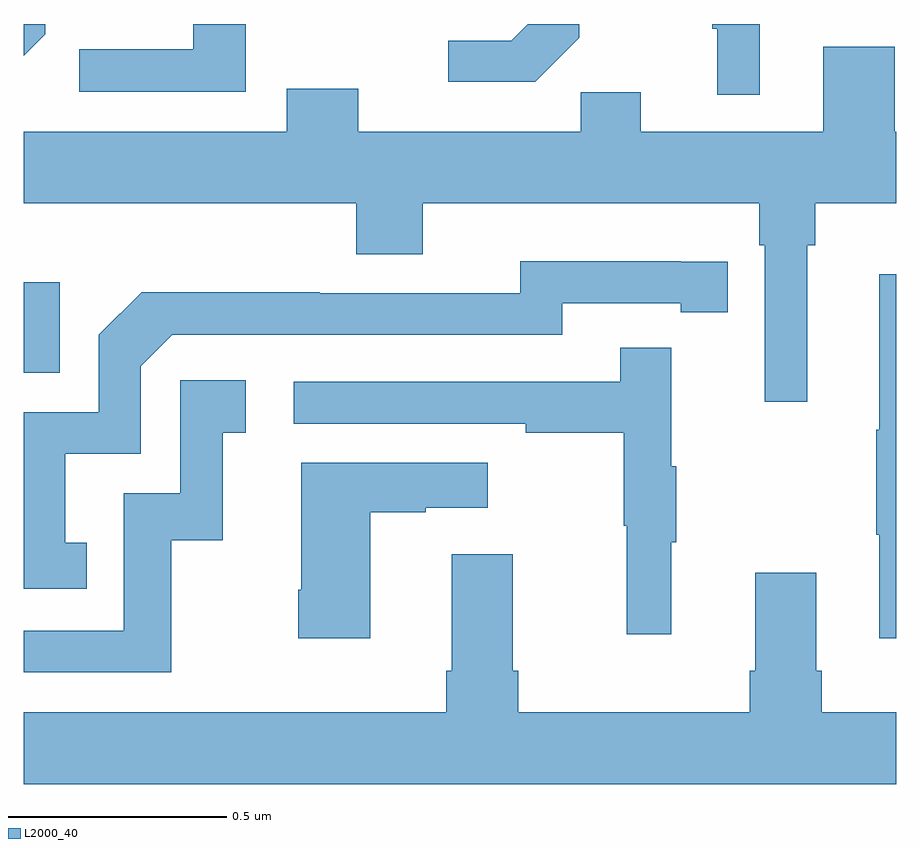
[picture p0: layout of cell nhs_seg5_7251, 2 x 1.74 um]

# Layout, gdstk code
import gdstk
lib = gdstk.Library(unit=1e-6, precision=1e-09)
def R(c, l, rs):  # rectangles x0, y0, x1, y1
    for r in rs: c.add(gdstk.rectangle(r[:2], r[2:], *l))
def P(c, l, *ps):  # polygons
    for p in ps: c.add(gdstk.Polygon(p, *l))
L2000_40 = (2000, 40)

nhs_seg5_7251 = lib.new_cell('nhs_seg5_7251')
R(nhs_seg5_7251, L2000_40, [(206,894.999,206.082,895.207)])
P(nhs_seg5_7251, L2000_40, [(206.509,895.799),(206.388,895.799),(206.388,895.741),(206.127,895.741),(206.127,895.644),(206.509,895.644)],
  [(207.688,895.799),(207.579,895.799),(207.579,895.788),(207.59,895.788),(207.59,895.637),(207.688,895.637)],
  [(207.273,895.767),(207.273,895.799),(207.155,895.799),(207.117,895.761),(206.973,895.761),(206.973,895.667),(207.173,895.667)],
  [(206.049,895.775),(206.049,895.799),(206,895.799),(206,895.726)],
  [(207.796,895.292),(207.815,895.292),(207.815,895.388),(208,895.388),(208,895.552),(207.997,895.552),(207.997,895.747),(207.833,895.747),(207.833,895.552),(207.415,895.552),(207.415,895.643),(207.277,895.643),(207.277,895.552),(206.767,895.552),(206.767,895.651),(206.603,895.651),(206.603,895.552),(206,895.552),(206,895.388),(206.762,895.388),(206.762,895.271),(206.914,895.271),(206.914,895.388),(207.686,895.388),(207.686,895.292),(207.699,895.292),(207.699,894.933),(207.796,894.933)],
  [(206.144,894.609),(206.095,894.609),(206.095,894.813),(206.268,894.813),(206.268,895.014),(206.34,895.086),(207.234,895.086),(207.234,895.158),(207.506,895.158),(207.506,895.138),(207.614,895.138),(207.614,895.254),(207.506,895.254),(207.506,895.255),(207.138,895.255),(207.138,895.182),(206.678,895.182),(206.678,895.184),(206.27,895.184),(206.172,895.086),(206.172,894.909),(206,894.909),(206,894.504),(206.144,894.504)],
  [(208,895.225),(207.962,895.225),(207.962,894.869),(207.955,894.869),(207.955,894.628),(207.962,894.628),(207.962,894.39),(208,894.39)],
  [(207.485,894.611),(207.496,894.611),(207.496,894.785),(207.485,894.785),(207.485,895.057),(207.367,895.057),(207.367,894.978),(206.619,894.978),(206.619,894.882),(207.151,894.882),(207.151,894.862),(207.375,894.862),(207.375,894.648),(207.382,894.648),(207.382,894.399),(207.485,894.399)],
  [(206.338,894.615),(206.456,894.615),(206.456,894.861),(206.509,894.861),(206.509,894.982),(206.358,894.982),(206.358,894.723),(206.229,894.723),(206.229,894.408),(206,894.408),(206,894.312),(206.338,894.312)],
  [(206.794,894.679),(206.921,894.679),(206.921,894.689),(207.064,894.689),(207.064,894.793),(206.636,894.793),(206.636,894.502),(206.629,894.502),(206.629,894.39),(206.794,894.39)],
  [(208,894.22),(207.83,894.22),(207.83,894.316),(207.817,894.316),(207.817,894.541),(207.677,894.541),(207.677,894.316),(207.665,894.316),(207.665,894.22),(207.134,894.22),(207.134,894.316),(207.121,894.316),(207.121,894.583),(206.981,894.583),(206.981,894.316),(206.969,894.316),(206.969,894.22),(206,894.22),(206,894.056),(208,894.056)])

lib.write_gds('nhs_seg5_7251.gds')
